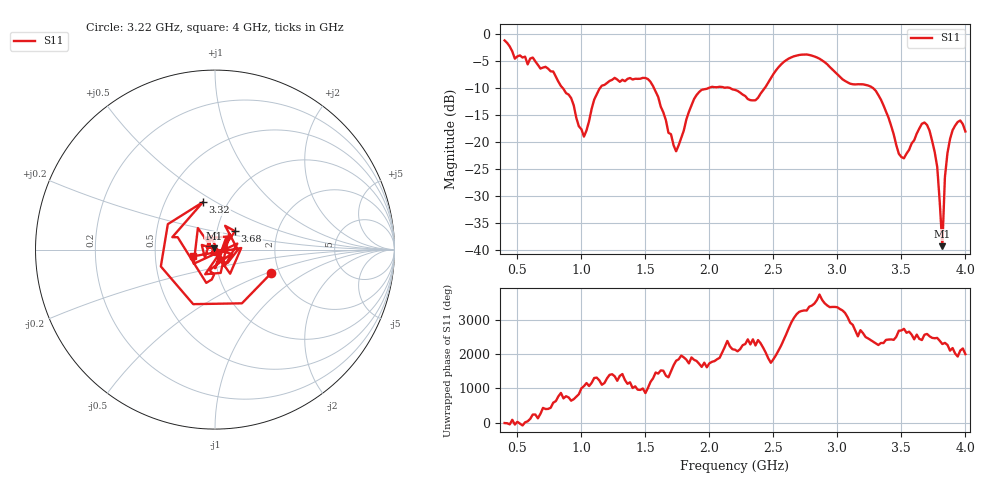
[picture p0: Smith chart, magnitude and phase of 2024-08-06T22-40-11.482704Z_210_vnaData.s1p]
!Created with skrf (http://scikit-rf.org).
# Hz S RI R 50.0
!freq ReS11 ImS11
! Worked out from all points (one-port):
!   181 points, 400 MHz to 4 GHz, reference 50 ohm
!   lowest |S11| = -39.3 dB at 3.82 GHz (marker M1), VSWR 1.02, Z = 49.3 + j0.781 ohm
!   |S11| at or under -10 dB: 855.1 MHz to 1.145 GHz (289.8 MHz wide, 29 % of centre); 1.567 GHz to 1.991 GHz (423.5 MHz wide, 23.8 % of centre); 3.28 GHz to end of sweep (the widest 3 of 4)
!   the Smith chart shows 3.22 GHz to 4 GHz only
!   S11 on the Smith chart (normalised r, x): 3.22 GHz: 1.80, -0.54; 3.32 GHz: 0.77, +0.44; 3.68 GHz: 1.22, +0.26; 4 GHz: 0.78, -0.06
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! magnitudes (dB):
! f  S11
! 400 MHz  -1.1
! 480 MHz  -4.5
! 620 MHz  -4.3
! 860 MHz  -10.1
! 1.02 GHz  -19.0
! 1.14 GHz  -10.2
! 1.3 GHz  -8.8
! 1.52 GHz  -8.3
! 1.74 GHz  -21.7
! 1.76 GHz  -20.6
! 1.92 GHz  -10.7
! 2.2 GHz  -10.3
! 2.36 GHz  -12.2
! 2.66 GHz  -4.1
! 2.84 GHz  -4.3
! 3.1 GHz  -9.2
! 3.22 GHz  -9.4
! 3.32 GHz  -11.3
! 3.48 GHz  -22.2
! 3.56 GHz  -21.5
! 3.68 GHz  -16.4
! 3.72 GHz  -17.9
! 3.78 GHz  -24.6
! 3.82 GHz  -39.3
! 3.84 GHz  -26.5
! 3.88 GHz  -19.5
! 3.96 GHz  -16.0
! 4 GHz  -18.0
